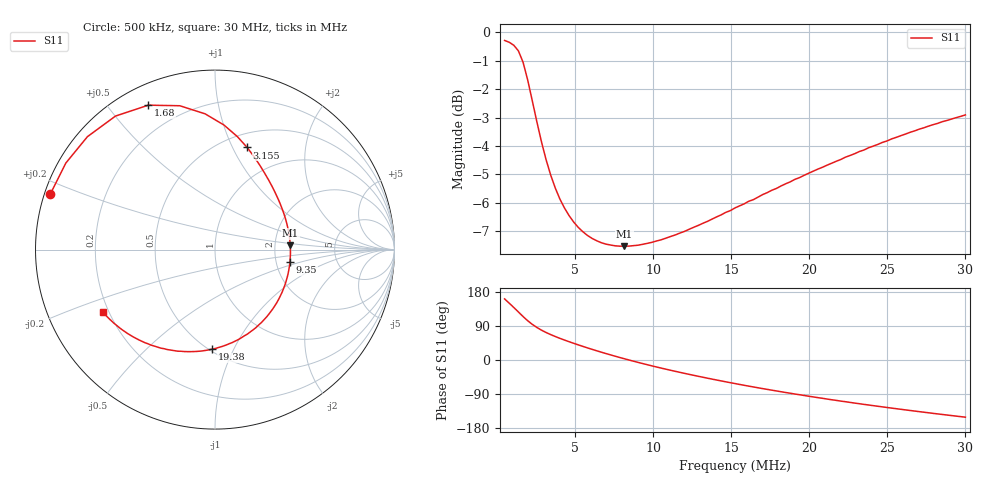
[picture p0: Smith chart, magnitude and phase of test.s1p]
! File created by NanoVNA MOD v3.0 by alex_m https://www.rtl-sdr.com/forum/viewtopic.php?f=4&t=4881
! Start 500000Hz  Stop 30000000Hz  Points 101
# Hz S MA R 50
!S - Parameter data, F S11
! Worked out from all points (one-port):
!   101 points, 500 kHz to 30 MHz, reference 50 ohm
!   lowest |S11| = -7.5 dB at 8.17 MHz (marker M1), VSWR 2.45, Z = 122 + j7.06 ohm
!   |S11| at or under -10 dB: nowhere
!   S11 on the Smith chart (normalised r, x): 500 kHz: 0.02, +0.17; 1.68 MHz: 0.08, +0.64; 3.155 MHz: 0.65, +1.14; 9.35 MHz: 2.38, -0.41; 19.38 MHz: 0.52, -0.83; 30 MHz: 0.18, -0.25
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500000  0.968 161.2
795000  0.9609 149.9
1090000  0.9492 138.5
1385000  0.9278 126.7
1680000  0.8863 114.8
1975000  0.8251 103.8
2270000  0.7582 94.1
2565000  0.6959 85.9
2860000  0.6415 78.8
3155000  0.5968 72.6
3745000  0.5317 61.9
4335000  0.4903 52.6
5220000  0.4532 39.9
6105000  0.4334 28.1
7875000  0.4201 6.6
8170000  0.42 3.3
9350000  0.4233 -9.5
1.171e7  0.4428 -32.5
1.3185e7  0.4608 -45.4
1.525e7  0.4906 -62.2
1.702e7  0.5178 -75.5
1.9085e7  0.5509 -89.8
1.938e7  0.5548 -91.6
2.0855e7  0.5787 -101.1
2.2625e7  0.6071 -112.0
2.469e7  0.6401 -123.7
2.646e7  0.6668 -133.2
3e7  0.7155 -150.9
